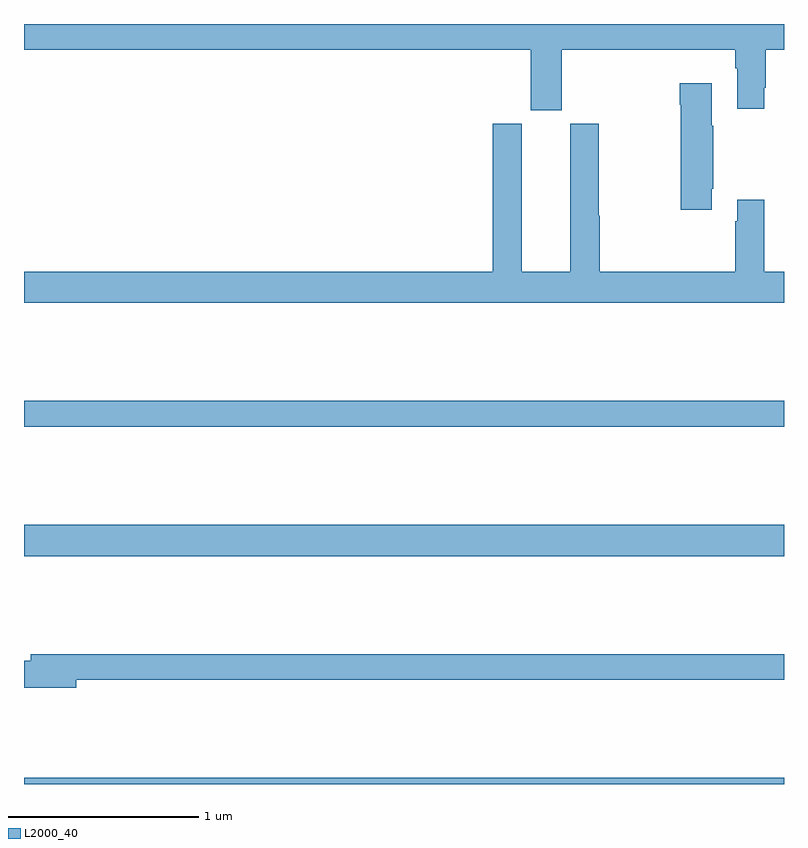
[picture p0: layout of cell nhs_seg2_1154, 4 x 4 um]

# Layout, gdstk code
import gdstk
lib = gdstk.Library(unit=1e-6, precision=1e-09)
def R(c, l, rs):  # rectangles x0, y0, x1, y1
    for r in rs: c.add(gdstk.rectangle(r[:2], r[2:], *l))
def P(c, l, *ps):  # polygons
    for p in ps: c.add(gdstk.Polygon(p, *l))
L2000_40 = (2000, 40)

nhs_seg2_1154 = lib.new_cell('nhs_seg2_1154')
R(nhs_seg2_1154, L2000_40, [(171,615.8,175,615.832), (171,617,175,617.164), (171,617.68,175,617.816)])
P(nhs_seg2_1154, L2000_40, [(173.83,619.664),(174.743,619.664),(174.743,619.568),(174.755,619.568),(174.755,619.353),(174.895,619.353),(174.895,619.465),(174.903,619.465),(174.903,619.664),(175,619.664),(175,619.8),(171,619.8),(171,619.664),(173.666,619.664),(173.666,619.347),(173.83,619.347)],
  [(174.619,618.934),(174.627,618.934),(174.627,619.265),(174.619,619.265),(174.619,619.489),(174.452,619.489),(174.452,619.376),(174.457,619.376),(174.457,618.822),(174.619,618.822)],
  [(175,618.496),(174.895,618.496),(174.895,618.874),(174.755,618.874),(174.755,618.761),(174.743,618.761),(174.743,618.496),(174.029,618.496),(174.029,618.792),(174.024,618.792),(174.024,619.275),(173.876,619.275),(173.876,618.496),(173.62,618.496),(173.62,619.275),(173.468,619.275),(173.468,618.496),(171,618.496),(171,618.332),(175,618.332)],
  [(171.274,616.348),(175,616.348),(175,616.484),(171.035,616.484),(171.035,616.448),(171,616.448),(171,616.306),(171.274,616.306)])

lib.write_gds('nhs_seg2_1154.gds')
